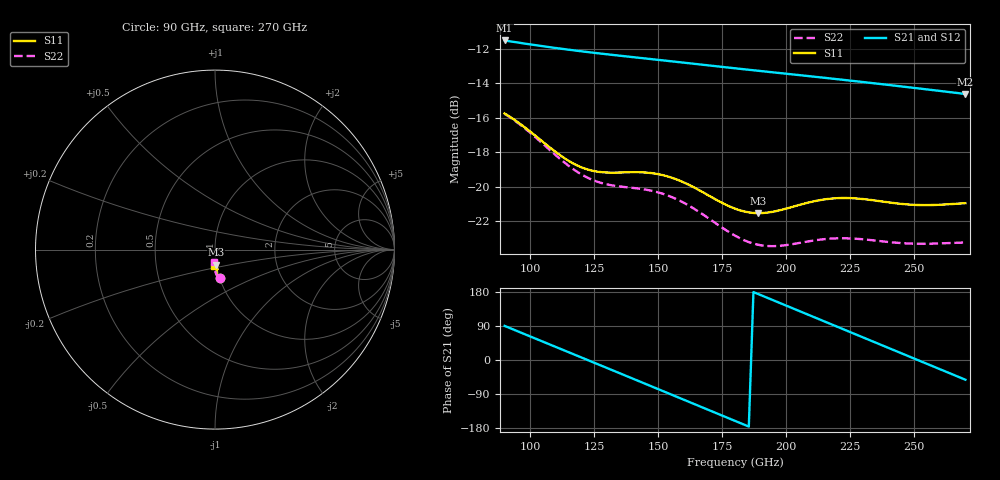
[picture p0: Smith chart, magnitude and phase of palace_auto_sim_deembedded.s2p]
! Created with skrf 1.11.0 (http://scikit-rf.org).
# GHz S DB R 50.0
!freq dBS11 angS11 dBS21 angS21 dBS12 angS12 dBS22 angS22
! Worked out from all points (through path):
!   101 points, 90 GHz to 270 GHz, reference 50 ohm
!   highest |S21| = -11.51 dB at 90 GHz (marker M1); lowest = -14.6 dB at 270 GHz (marker M2)
!   group delay of S21, straight-line fit = 7.75 ps
!   lowest |S11| = -21.5 dB at 189 GHz (marker M3), VSWR 1.18, Z = 49.8 - j8.4 ohm
!   |S11| at or under -10 dB: start of sweep to end of sweep
!   |S22| runs from -23.4 to -15.8 dB; largest |S21 - S12| = 1.3e-15
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90  -15.74 -79.9  -11.51 90.0  -11.51 90.0  -15.77 -80.6
97.2  -16.47 -83.5  -11.67 70.0  -11.67 70.0  -16.52 -84.8
106.2  -17.54 -86.0  -11.87 45.0  -11.87 45.0  -17.67 -88.2
113.4  -18.34 -85.8  -12.01 25.0  -12.01 25.0  -18.59 -88.9
120.6  -18.90 -84.3  -12.15 5.0  -12.15 5.0  -19.33 -88.1
127.8  -19.15 -82.7  -12.27 -15.0  -12.27 -15.0  -19.78 -86.7
135  -19.17 -82.3  -12.39 -35.0  -12.39 -35.0  -19.98 -86.2
144  -19.16 -84.0  -12.54 -60.1  -12.54 -60.1  -20.14 -87.5
151.2  -19.30 -86.6  -12.65 -80.2  -12.65 -80.2  -20.38 -89.9
163.8  -20.02 -90.7  -12.86 -115.4  -12.86 -115.4  -21.25 -94.2
172.8  -20.76 -91.3  -13.00 -140.6  -13.00 -140.6  -22.15 -95.2
180  -21.27 -89.8  -13.12 -160.6  -13.12 -160.6  -22.83 -93.9
189  -21.53 -86.4  -13.26 174.2  -13.26 174.2  -23.36 -90.5
199.8  -21.27 -83.7  -13.43 144.1  -13.43 144.1  -23.39 -86.9
210.6  -20.85 -84.3  -13.60 113.9  -13.60 113.9  -23.12 -86.2
217.8  -20.68 -86.0  -13.72 93.8  -13.72 93.8  -23.00 -87.2
225  -20.66 -88.0  -13.84 73.7  -13.84 73.7  -23.00 -88.6
232.2  -20.75 -89.7  -13.96 53.5  -13.96 53.5  -23.08 -90.0
241.2  -20.93 -91.0  -14.11 28.4  -14.11 28.4  -23.22 -91.1
248.4  -21.03 -91.4  -14.23 8.3  -14.23 8.3  -23.29 -91.7
255.6  -21.06 -91.5  -14.36 -11.8  -14.36 -11.8  -23.30 -92.3
270  -20.95 -92.6  -14.61 -52.0  -14.61 -52.0  -23.24 -94.9
